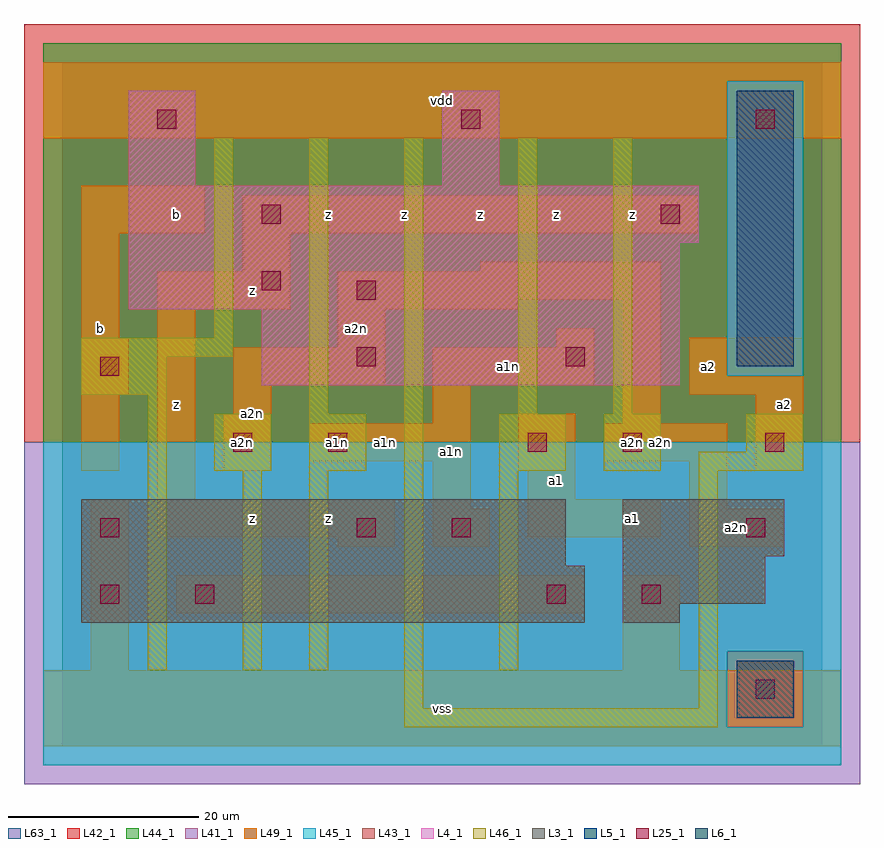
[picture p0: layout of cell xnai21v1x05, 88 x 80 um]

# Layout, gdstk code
import gdstk
lib = gdstk.Library(unit=1e-6, precision=1e-09)
def R(c, l, rs):  # rectangles x0, y0, x1, y1
    for r in rs: c.add(gdstk.rectangle(r[:2], r[2:], *l))
L3_1 = (3, 1)
L4_1 = (4, 1)
L5_1 = (5, 1)
L6_1 = (6, 1)
L25_1 = (25, 1)
L41_1 = (41, 1)
L42_1 = (42, 1)
L43_1 = (43, 1)
L44_1 = (44, 1)
L45_1 = (45, 1)
L46_1 = (46, 1)
L49_1 = (49, 1)
L63_1 = (63, 1)

xnai21v1x05 = lib.new_cell('xnai21v1x05')
R(xnai21v1x05, L3_1, [(2,13,55,19), (59,13,65,15), (59,15,74,20), (2,19,53,26), (59,20,76,26)])
R(xnai21v1x05, L4_1, [(21,38,65,46), (7,46,65,53), (7,53,67,59), (7,59,14,69), (40,59,46,69)])
R(xnai21v1x05, L5_1, [(71,40,77,69)])
R(xnai21v1x05, L6_1, [(71,3,77,9), (71,3,77,9)])
R(xnai21v1x05, L25_1, [(73,5,75,7), (4,15,6,17), (14,15,16,17), (51,15,53,17), (61,15,63,17), (4,22,6,24), (31,22,33,24), (41,22,43,24), (72,22,74,24), (18,31,20,33), (28,31,30,33), (49,31,51,33), (59,31,61,33), (74,31,76,33), (4,39,6,41), (31,40,33,42), (53,40,55,42), (31,47,33,49), (21,48,23,50), (21,55,23,57), (63,55,65,57), (10,65,12,67), (42,65,44,67), (73,65,75,67)])
R(xnai21v1x05, L41_1, [(-4,-4,84,32)])
R(xnai21v1x05, L42_1, [(-4,32,84,76)])
R(xnai21v1x05, L43_1, [(71,3,77,9), (2,13,55,19), (59,13,65,15), (59,15,74,20), (2,19,53,26), (59,20,76,26), (21,38,65,46), (71,40,77,69), (7,46,65,53), (7,53,67,59), (7,59,14,69), (40,59,46,69)])
R(xnai21v1x05, L44_1, [(70,2,78,10), (-2,32,82,39), (-2,39,70,70), (78,39,82,70), (-2,70,82,74)])
R(xnai21v1x05, L45_1, [(-2,-2,82,2), (-2,2,70,10), (78,2,82,10), (-2,10,82,32), (70,39,78,70)])
R(xnai21v1x05, L46_1, [(36,2,69,4), (36,4,38,64), (67,4,69,29), (9,8,11,37), (19,8,21,29), (26,8,28,29), (46,8,48,29), (16,29,22,35), (26,29,32,35), (46,29,53,35), (57,29,63,35), (67,29,78,31), (72,31,78,35), (26,35,28,64), (48,35,50,64), (58,35,60,64), (2,37,11,41), (2,41,18,43), (16,43,18,64)])
R(xnai21v1x05, L49_1, [(-2,0,82,8), (3,8,7,26), (59,8,65,18), (12,14,55,18), (29,21,35,22), (39,21,45,25), (66,21,76,25), (10,22,35,26), (49,22,63,26), (39,25,43,30), (66,25,70,30), (10,26,14,46), (49,26,54,29), (2,29,6,37), (17,29,22,35), (48,29,54,35), (73,29,78,37), (26,30,43,34), (57,30,70,34), (39,34,43,38), (59,34,63,47), (18,35,22,38), (2,37,7,43), (66,37,78,43), (18,38,34,42), (39,38,56,42), (29,42,34,46), (52,42,56,44), (2,43,6,54), (10,46,24,50), (29,46,48,47), (29,47,63,50), (19,50,24,54), (44,50,63,51), (2,54,15,59), (19,54,67,58), (-2,64,82,72)])
R(xnai21v1x05, L63_1, [(0,0,80,72)])
xnai21v1x05.add(gdstk.Label('a2n', (19,32), layer=49, texttype=1))
xnai21v1x05.add(gdstk.Label('a1n', (29,32), layer=49, texttype=1))
xnai21v1x05.add(gdstk.Label('a2n', (60,32), layer=49, texttype=1))
xnai21v1x05.add(gdstk.Label('b', (4,44), layer=49, texttype=1))
xnai21v1x05.add(gdstk.Label('z', (28,24), layer=49, texttype=1))
xnai21v1x05.add(gdstk.Label('z', (20,24), layer=49, texttype=1))
xnai21v1x05.add(gdstk.Label('a2n', (20,35), layer=49, texttype=1))
xnai21v1x05.add(gdstk.Label('z', (12,36), layer=49, texttype=1))
xnai21v1x05.add(gdstk.Label('z', (20,48), layer=49, texttype=1))
xnai21v1x05.add(gdstk.Label('z', (28,56), layer=49, texttype=1))
xnai21v1x05.add(gdstk.Label('b', (12,56), layer=49, texttype=1))
xnai21v1x05.add(gdstk.Label('vss', (40,4), layer=49, texttype=1))
xnai21v1x05.add(gdstk.Label('a1n', (41,31), layer=49, texttype=1))
xnai21v1x05.add(gdstk.Label('a1n', (34,32), layer=49, texttype=1))
xnai21v1x05.add(gdstk.Label('a2n', (31,44), layer=49, texttype=1))
xnai21v1x05.add(gdstk.Label('z', (36,56), layer=49, texttype=1))
xnai21v1x05.add(gdstk.Label('z', (44,56), layer=49, texttype=1))
xnai21v1x05.add(gdstk.Label('vdd', (40,68), layer=49, texttype=1))
xnai21v1x05.add(gdstk.Label('a1', (60,24), layer=49, texttype=1))
xnai21v1x05.add(gdstk.Label('a1', (52,28), layer=49, texttype=1))
xnai21v1x05.add(gdstk.Label('a1n', (47,40), layer=49, texttype=1))
xnai21v1x05.add(gdstk.Label('z', (60,56), layer=49, texttype=1))
xnai21v1x05.add(gdstk.Label('z', (52,56), layer=49, texttype=1))
xnai21v1x05.add(gdstk.Label('a2n', (71,23), layer=49, texttype=1))
xnai21v1x05.add(gdstk.Label('a2n', (63,32), layer=49, texttype=1))
xnai21v1x05.add(gdstk.Label('a2', (68,40), layer=49, texttype=1))
xnai21v1x05.add(gdstk.Label('a2', (76,36), layer=49, texttype=1))

lib.write_gds('xnai21v1x05.gds')
